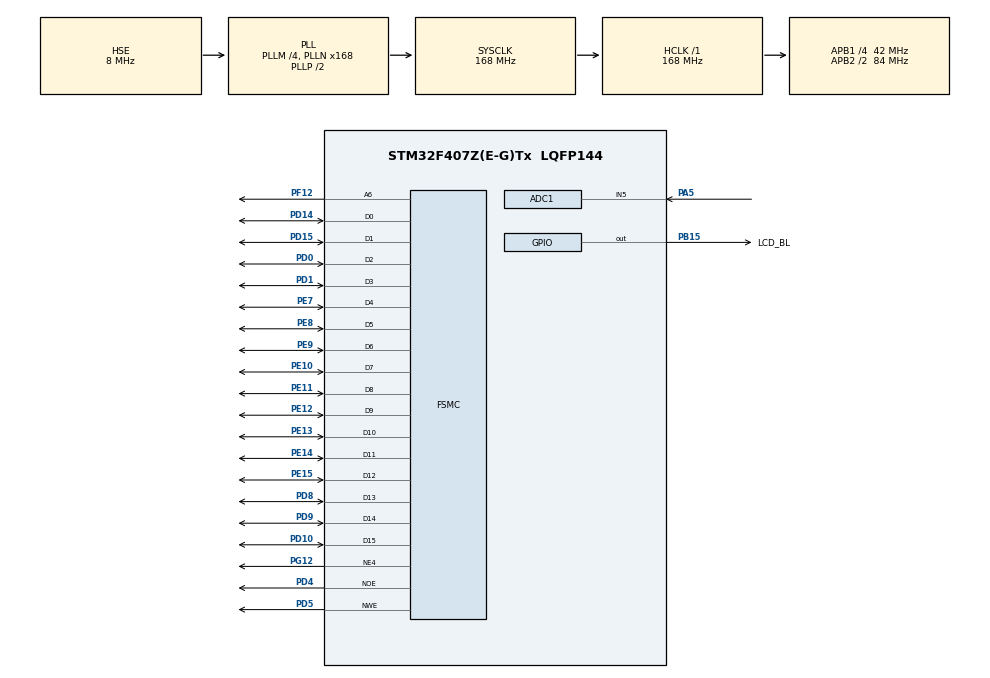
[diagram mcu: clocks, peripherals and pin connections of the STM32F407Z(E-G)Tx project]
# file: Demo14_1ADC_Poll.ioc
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ADC1.Channel-0\#ChannelRegularConversion=ADC_CHANNEL_5
ADC1.EnableAnalogWatchDog=false
ADC1.ExternalTrigConv=ADC_SOFTWARE_START
ADC1.InjNumberOfConversion=0
ADC1.NbrOfConversion=1
ADC1.NbrOfConversionFlag=1
ADC1.Rank-0\#ChannelRegularConversion=1
ADC1.Resolution=ADC_RESOLUTION_12B
ADC1.SamplingTime-0\#ChannelRegularConversion=ADC_SAMPLETIME_28CYCLES
ADC1.master=1
FSMC.AccessMode4=FSMC_ACCESS_MODE_A
FSMC.AddressSetupTime4=2
FSMC.BusTurnAroundDuration4=0
FSMC.DataSetupTime4=16
FSMC.ExtendedAccessMode4=FSMC_ACCESS_MODE_A
FSMC.ExtendedAddressSetupTime4=4
FSMC.ExtendedBusTurnAroundDuration4=0
FSMC.ExtendedDataSetupTime4=9
FSMC.ExtendedMode4=FSMC_EXTENDED_MODE_ENABLE
FSMC.MemoryType4=FSMC_MEMORY_TYPE_SRAM
FSMC.NSBank4=FSMC_NORSRAM_BANK4
FSMC.WriteOperation4=FSMC_WRITE_OPERATION_ENABLE
Mcu.Family=STM32F4
Mcu.Name=STM32F407Z(E-G)Tx
Mcu.Package=LQFP144
NVIC.PriorityGroup=NVIC_PRIORITYGROUP_4
PA13.Mode=Serial_Wire
PA13.Signal=SYS_JTMS-SWDIO
PA14.Mode=Serial_Wire
PA14.Signal=SYS_JTCK-SWCLK
PA5.Signal=ADCx_IN5
PB15.GPIO_Label=LCD_BL
PB15.PinState=GPIO_PIN_RESET
PB15.Signal=GPIO_Output
PC14-OSC32_IN.Mode=LSE-External-Oscillator
PC14-OSC32_IN.Signal=RCC_OSC32_IN
PC15-OSC32_OUT.Mode=LSE-External-Oscillator
PC15-OSC32_OUT.Signal=RCC_OSC32_OUT
PD0.Signal=FSMC_D2_DA2
PD1.Signal=FSMC_D3_DA3
PD10.Signal=FSMC_D15_DA15
PD14.Signal=FSMC_D0_DA0
PD15.Signal=FSMC_D1_DA1
PD4.Signal=FSMC_NOE
PD5.Signal=FSMC_NWE
PD8.Signal=FSMC_D13_DA13
PD9.Signal=FSMC_D14_DA14
PE10.Signal=FSMC_D7_DA7
PE11.Signal=FSMC_D8_DA8
PE12.Signal=FSMC_D9_DA9
PE13.Signal=FSMC_D10_DA10
PE14.Signal=FSMC_D11_DA11
PE15.Signal=FSMC_D12_DA12
PE7.Signal=FSMC_D4_DA4
PE8.Signal=FSMC_D5_DA5
PE9.Signal=FSMC_D6_DA6
PF12.Signal=FSMC_A6
PG12.Mode=NorPsramChipSelect4_4
PG12.Signal=FSMC_NE4
PH0-OSC_IN.Mode=HSE-External-Oscillator
PH0-OSC_IN.Signal=RCC_OSC_IN
PH1-OSC_OUT.Mode=HSE-External-Oscillator
PH1-OSC_OUT.Signal=RCC_OSC_OUT
ProjectManager.HeapSize=0x200
ProjectManager.StackSize=0x400
ProjectManager.TargetToolchain=STM32CubeIDE
RCC.48MHZClocksFreq_Value=84000000
RCC.AHBFreq_Value=168000000
RCC.APB1CLKDivider=RCC_HCLK_DIV4
RCC.APB1Freq_Value=42000000
RCC.APB1TimFreq_Value=84000000
RCC.APB2CLKDivider=RCC_HCLK_DIV2
RCC.APB2Freq_Value=84000000
RCC.APB2TimFreq_Value=168000000
RCC.CortexFreq_Value=168000000
RCC.FLatency=FLASH_LATENCY_5
RCC.HCLKFreq_Value=168000000
RCC.HSE_VALUE=8000000
RCC.HSI_VALUE=16000000
RCC.PLLM=4
RCC.PLLN=168
RCC.PLLSourceVirtual=RCC_PLLSOURCE_HSE
RCC.SYSCLKFreq_VALUE=168000000
RCC.SYSCLKSource=RCC_SYSCLKSOURCE_PLLCLK
RCC.VCOOutputFreq_Value=336000000
SH.ADCx_IN5.0=ADC1_IN5,IN5
SH.FSMC_A6.0=FSMC_A6,A6_4
SH.FSMC_D0_DA0.0=FSMC_D0,16b-d4
SH.FSMC_D10_DA10.0=FSMC_D10,16b-d4
SH.FSMC_D11_DA11.0=FSMC_D11,16b-d4
SH.FSMC_D12_DA12.0=FSMC_D12,16b-d4
SH.FSMC_D13_DA13.0=FSMC_D13,16b-d4
SH.FSMC_D14_DA14.0=FSMC_D14,16b-d4
SH.FSMC_D15_DA15.0=FSMC_D15,16b-d4
SH.FSMC_D1_DA1.0=FSMC_D1,16b-d4
SH.FSMC_D2_DA2.0=FSMC_D2,16b-d4
SH.FSMC_D3_DA3.0=FSMC_D3,16b-d4
SH.FSMC_D4_DA4.0=FSMC_D4,16b-d4
SH.FSMC_D5_DA5.0=FSMC_D5,16b-d4
SH.FSMC_D6_DA6.0=FSMC_D6,16b-d4
SH.FSMC_D7_DA7.0=FSMC_D7,16b-d4
SH.FSMC_D8_DA8.0=FSMC_D8,16b-d4
SH.FSMC_D9_DA9.0=FSMC_D9,16b-d4
SH.FSMC_NOE.0=FSMC_NOE,Lcd4
SH.FSMC_NWE.0=FSMC_NWE,Lcd4
board=custom

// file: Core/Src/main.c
/* USER CODE BEGIN Header */
/**
  ******************************************************************************
  * @file           : main.c
  * @brief          : Main program body
  ******************************************************************************
  * @attention
  *
  * Copyright (c) 2023 STMicroelectronics.
  * All rights reserved.
  *
  * This software is licensed under terms that can be found in the LICENSE file
  * in the root directory of this software component.
  * If no LICENSE file comes with this software, it is provided AS-IS.
  *
  ******************************************************************************
  */
/* USER CODE END Header */
#include "main.h"
#include "adc.h"
#include "gpio.h"
#include "fsmc.h"

/* USER CODE BEGIN Includes */
#include "lcd.h"
/* USER CODE END Includes */

void SystemClock_Config(void);

int main(void)
{

  /* MCU Configuration--------------------------------------------------------*/

  /* Reset of all peripherals, Initializes the Flash interface and the Systick. */
  HAL_Init();

  /* Configure the system clock */
  SystemClock_Config();

  /* Initialize all configured peripherals */
  MX_GPIO_Init();
  MX_FSMC_Init();
  MX_ADC1_Init();
  /* USER CODE BEGIN 2 */
  lcd_init();
  lcd_show_str(10, 10, 24, "Demo14_1:ADC by polling", RED);
  lcd_show_str(10, 40, 24, "ADC1-IN5 channel", RED);
  lcd_show_str(10, 70, 24, "Please set jumper at first", RED);
  lcd_show_str(10,100, 24, "Tune potentiometer for input", RED);
  lcd_show_str(10,130, 24, "ADC 12-bits Value = ", RED);
  lcd_show_str(10,190, 24, "Voltage(mV) = ", RED);

  /* USER CODE END 2 */

  /* Infinite loop */
  /* USER CODE BEGIN WHILE */
  while (1)
  {
	  HAL_ADC_Start(&hadc1);
	  if (HAL_ADC_PollForConversion(&hadc1, 200) == HAL_OK) {
		  uint32_t val = HAL_ADC_GetValue(&hadc1);
		  lcd_show_num(50, 160, val, 4, 24, RED);

		  uint32_t Volt = 3300 * val >> 12;
		  lcd_show_num(50, 220, Volt, 4, 24, RED);
	  }
	  //HAL_ADC_Stop(&hadc1);
	  HAL_Delay(500);
    /* USER CODE END WHILE */

  }
}

void SystemClock_Config(void)
{
  RCC_OscInitTypeDef RCC_OscInitStruct = {0};
  RCC_ClkInitTypeDef RCC_ClkInitStruct = {0};

  /** Configure the main internal regulator output voltage
  */
  __HAL_RCC_PWR_CLK_ENABLE();
  __HAL_PWR_VOLTAGESCALING_CONFIG(PWR_REGULATOR_VOLTAGE_SCALE1);

  /** Initializes the RCC Oscillators according to the specified parameters
  * in the RCC_OscInitTypeDef structure.
  */
  RCC_OscInitStruct.OscillatorType = RCC_OSCILLATORTYPE_HSE;
  RCC_OscInitStruct.HSEState = RCC_HSE_ON;
  RCC_OscInitStruct.PLL.PLLState = RCC_PLL_ON;
  RCC_OscInitStruct.PLL.PLLSource = RCC_PLLSOURCE_HSE;
  RCC_OscInitStruct.PLL.PLLM = 4;
  RCC_OscInitStruct.PLL.PLLN = 168;
  RCC_OscInitStruct.PLL.PLLP = RCC_PLLP_DIV2;
  RCC_OscInitStruct.PLL.PLLQ = 4;
  if (HAL_RCC_OscConfig(&RCC_OscInitStruct) != HAL_OK)
  {
    Error_Handler();
  }

  /** Initializes the CPU, AHB and APB buses clocks
  */
  RCC_ClkInitStruct.ClockType = RCC_CLOCKTYPE_HCLK|RCC_CLOCKTYPE_SYSCLK
                              |RCC_CLOCKTYPE_PCLK1|RCC_CLOCKTYPE_PCLK2;
  RCC_ClkInitStruct.SYSCLKSource = RCC_SYSCLKSOURCE_PLLCLK;
  RCC_ClkInitStruct.AHBCLKDivider = RCC_SYSCLK_DIV1;
  RCC_ClkInitStruct.APB1CLKDivider = RCC_HCLK_DIV4;
  RCC_ClkInitStruct.APB2CLKDivider = RCC_HCLK_DIV2;

  if (HAL_RCC_ClockConfig(&RCC_ClkInitStruct, FLASH_LATENCY_5) != HAL_OK)
  {
    Error_Handler();
  }
}

void Error_Handler(void)
{
  __disable_irq();
  while (1)
  {
  }
}
